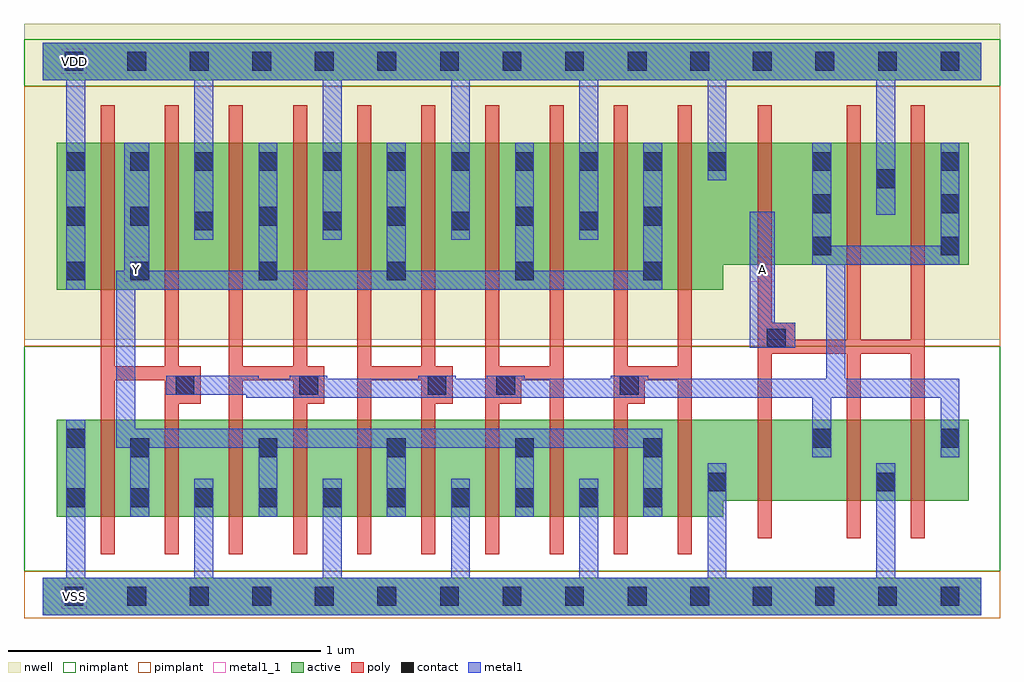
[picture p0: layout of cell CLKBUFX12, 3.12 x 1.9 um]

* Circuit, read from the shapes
.subckt CLKBUFX12 A VDD VSS Y
M1 Y n1 VSS VSS nfet w=0.31u l=0.045u m=10
M2 n1 A VSS VSS nfet w=0.26u l=0.045u m=3
M3 Y n1 VDD VDD pfet w=0.47u l=0.045u m=10
M4 n1 A VDD VDD pfet w=0.39u l=0.045u m=3
.ends

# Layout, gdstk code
import gdstk
lib = gdstk.Library(unit=1e-6, precision=5e-10)
def R(c, l, rs):  # rectangles x0, y0, x1, y1
    for r in rs: c.add(gdstk.rectangle(r[:2], r[2:], *l))
def A(c, l, x, y, w, h, nx, ny, dx, dy):  # array of equal rectangles
    R(c, l, [(x+i*dx, y+j*dy, x+i*dx+w, y+j*dy+h) for i in range(nx) for j in range(ny)])
def P(c, l, *ps):  # polygons
    for p in ps: c.add(gdstk.Polygon(p, *l))
active = (1, 0)
nwell = (2, 0)
poly = (3, 0)
nimplant = (4, 0)
pimplant = (5, 0)
contact = (6, 0)
metal1 = (7, 0)
metal1_1 = (7, 1)

clkbufx12 = lib.new_cell('CLKBUFX12')
R(clkbufx12, active, [(0,-0.06,3,0.06), (0,1.65,3,1.77)])
P(clkbufx12, active, [(0.045,1.45),(2.96,1.45),(2.96,1.06),(2.175,1.06),(2.175,0.98),(0.045,0.98)],
  [(0.045,0.565),(2.96,0.565),(2.96,0.305),(2.175,0.305),(2.175,0.255),(0.045,0.255)])
R(clkbufx12, nwell, [(-0.06,0.82,3.06,1.83)])
P(clkbufx12, poly, [(0.185,1.57),(0.23,1.57),(0.23,0.735),(0.39,0.735),(0.39,1.57),(0.435,1.57),(0.435,0.735),(0.505,0.735),(0.505,0.615),(0.435,0.615),(0.435,0.135),(0.39,0.135),(0.39,0.69),(0.23,0.69),(0.23,0.135),(0.185,0.135)],
  [(0.595,1.57),(0.64,1.57),(0.64,0.735),(0.8,0.735),(0.8,1.57),(0.845,1.57),(0.845,0.735),(0.9,0.735),(0.9,0.615),(0.845,0.615),(0.845,0.135),(0.8,0.135),(0.8,0.69),(0.64,0.69),(0.64,0.135),(0.595,0.135)],
  [(1.005,1.57),(1.05,1.57),(1.05,0.735),(1.21,0.735),(1.21,1.57),(1.255,1.57),(1.255,0.735),(1.31,0.735),(1.31,0.615),(1.255,0.615),(1.255,0.135),(1.21,0.135),(1.21,0.69),(1.05,0.69),(1.05,0.135),(1.005,0.135)],
  [(1.415,1.57),(1.46,1.57),(1.46,0.735),(1.62,0.735),(1.62,1.57),(1.665,1.57),(1.665,0.135),(1.62,0.135),(1.62,0.69),(1.53,0.69),(1.53,0.615),(1.46,0.615),(1.46,0.135),(1.415,0.135)],
  [(1.825,1.57),(1.87,1.57),(1.87,0.735),(2.03,0.735),(2.03,1.57),(2.075,1.57),(2.075,0.135),(2.03,0.135),(2.03,0.69),(1.925,0.69),(1.925,0.615),(1.87,0.615),(1.87,0.135),(1.825,0.135)],
  [(2.285,1.57),(2.33,1.57),(2.33,0.875),(2.405,0.875),(2.405,0.82),(2.57,0.82),(2.57,1.57),(2.615,1.57),(2.615,0.82),(2.775,0.82),(2.775,1.57),(2.82,1.57),(2.82,0.185),(2.775,0.185),(2.775,0.775),(2.615,0.775),(2.615,0.185),(2.57,0.185),(2.57,0.775),(2.33,0.775),(2.33,0.185),(2.285,0.185)])
R(clkbufx12, nimplant, [(-0.06,0.08,3.06,0.8), (-0.06,1.63,3.06,1.78)])
R(clkbufx12, pimplant, [(-0.06,-0.07,3.06,0.08), (-0.06,0.8,3.06,1.63)])
A(clkbufx12, contact, 0.07, -0.03, 0.06, 0.06, 15, 2, 0.2, 1.71)
A(clkbufx12, contact, 0.075, 0.285, 0.06, 0.06, 10, 1, 0.205, 0)
A(clkbufx12, contact, 0.28, 0.445, 0.06, 0.06, 5, 2, 0.41, 0.565)
A(clkbufx12, contact, 2.46, 1.09, 0.06, 0.06, 1, 3, 0, 0.135)
A(clkbufx12, contact, 2.87, 1.09, 0.06, 0.06, 1, 3, 0, 0.135)
A(clkbufx12, contact, 0.485, 1.17, 0.06, 0.06, 4, 1, 0.41, 0)
A(clkbufx12, contact, 0.28, 1.185, 0.06, 0.06, 5, 1, 0.41, 0)
A(clkbufx12, contact, 0.075, 1.36, 0.06, 0.06, 11, 1, 0.205, 0)
R(clkbufx12, contact, [(2.125,0.335,2.185,0.395), (2.665,0.335,2.725,0.395), (0.075,0.475,0.135,0.535), (2.46,0.475,2.52,0.535), (2.87,0.475,2.93,0.535), (0.425,0.645,0.485,0.705), (0.82,0.645,0.88,0.705), (1.23,0.645,1.29,0.705), (1.45,0.645,1.51,0.705), (1.845,0.645,1.905,0.705), (2.315,0.795,2.375,0.855), (0.075,1.01,0.135,1.07), (0.075,1.185,0.135,1.245), (2.665,1.305,2.725,1.365)])
P(clkbufx12, metal1, [(0,1.77),(3,1.77),(3,1.65),(2.725,1.65),(2.725,1.22),(2.665,1.22),(2.665,1.65),(2.185,1.65),(2.185,1.33),(2.125,1.33),(2.125,1.65),(1.775,1.65),(1.775,1.14),(1.715,1.14),(1.715,1.65),(1.365,1.65),(1.365,1.14),(1.305,1.14),(1.305,1.65),(0.955,1.65),(0.955,1.14),(0.895,1.14),(0.895,1.65),(0.545,1.65),(0.545,1.14),(0.485,1.14),(0.485,1.65),(0.135,1.65),(0.135,0.98),(0.075,0.98),(0.075,1.65),(0,1.65)],
  [(0.26,1.45),(0.34,1.45),(0.34,1.04),(0.69,1.04),(0.69,1.45),(0.75,1.45),(0.75,1.04),(1.1,1.04),(1.1,1.45),(1.16,1.45),(1.16,1.04),(1.51,1.04),(1.51,1.45),(1.57,1.45),(1.57,1.04),(1.92,1.04),(1.92,1.45),(1.98,1.45),(1.98,0.98),(0.295,0.98),(0.295,0.535),(1.98,0.535),(1.98,0.255),(1.92,0.255),(1.92,0.475),(1.57,0.475),(1.57,0.255),(1.51,0.255),(1.51,0.475),(1.16,0.475),(1.16,0.255),(1.1,0.255),(1.1,0.475),(0.75,0.475),(0.75,0.255),(0.69,0.255),(0.69,0.475),(0.34,0.475),(0.34,0.255),(0.28,0.255),(0.28,0.475),(0.235,0.475),(0.235,1.04),(0.26,1.04)],
  [(2.46,1.45),(2.52,1.45),(2.52,1.12),(2.87,1.12),(2.87,1.45),(2.93,1.45),(2.93,1.06),(2.565,1.06),(2.565,0.695),(2.93,0.695),(2.93,0.445),(2.87,0.445),(2.87,0.635),(2.52,0.635),(2.52,0.445),(2.46,0.445),(2.46,0.635),(0.65,0.635),(0.65,0.645),(0.395,0.645),(0.395,0.705),(0.69,0.705),(0.69,0.695),(0.79,0.695),(0.79,0.705),(0.91,0.705),(0.91,0.695),(1.2,0.695),(1.2,0.705),(1.32,0.705),(1.32,0.695),(1.42,0.695),(1.42,0.705),(1.54,0.705),(1.54,0.695),(1.815,0.695),(1.815,0.705),(1.935,0.705),(1.935,0.695),(2.505,0.695),(2.505,1.06),(2.46,1.06)],
  [(2.26,1.23),(2.34,1.23),(2.34,0.875),(2.405,0.875),(2.405,0.795),(2.26,0.795)],
  [(0.075,0.565),(0.135,0.565),(0.135,0.06),(0.485,0.06),(0.485,0.375),(0.545,0.375),(0.545,0.06),(0.895,0.06),(0.895,0.375),(0.955,0.375),(0.955,0.06),(1.305,0.06),(1.305,0.375),(1.365,0.375),(1.365,0.06),(1.715,0.06),(1.715,0.375),(1.775,0.375),(1.775,0.06),(2.125,0.06),(2.125,0.425),(2.185,0.425),(2.185,0.06),(2.665,0.06),(2.665,0.425),(2.725,0.425),(2.725,0.06),(3,0.06),(3,-0.06),(0,-0.06),(0,0.06),(0.075,0.06)])
R(clkbufx12, metal1_1, [(0.06,-0.04,0.14,0.04), (0.26,1.005,0.34,1.085), (2.26,1.005,2.34,1.085), (0.06,1.67,0.14,1.75)])
clkbufx12.add(gdstk.Label('Y', (0.3,1.045), layer=7, texttype=1))
clkbufx12.add(gdstk.Label('A', (2.3,1.045), layer=7, texttype=1))
clkbufx12.add(gdstk.Label('VDD', (0.1,1.71), layer=7, texttype=1))
clkbufx12.add(gdstk.Label('VSS', (0.1,0), layer=7, texttype=1))
clkbufx12.add(gdstk.Label('CLKBUFX12', (0,0), layer=63, texttype=0))

lib.write_gds('CLKBUFX12.gds')
